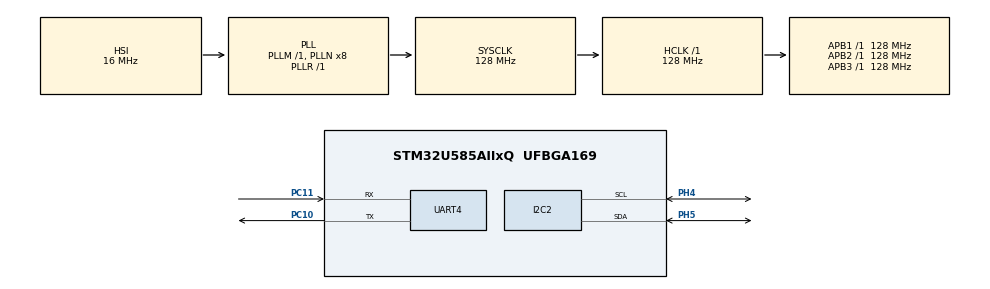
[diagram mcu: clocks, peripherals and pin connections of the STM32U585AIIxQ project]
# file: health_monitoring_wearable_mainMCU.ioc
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CORTEX_M33_NS.userName=CORTEX_M33
I2C2.Timing=0x20A0C4DF
Mcu.Family=STM32U5
Mcu.Name=STM32U585AIIxQ
Mcu.Package=UFBGA169
NVIC.I2C2_ER_IRQn=true\:3\:0\:true\:false\:true\:true\:true\:true
NVIC.I2C2_EV_IRQn=true\:3\:0\:true\:false\:true\:true\:true\:true
NVIC.PriorityGroup=NVIC_PRIORITYGROUP_4
NVIC.TIM16_IRQn=true\:2\:0\:true\:false\:true\:true\:true\:true
NVIC.UART4_IRQn=true\:1\:0\:true\:false\:true\:true\:true\:true
PA13\ (JTMS/SWDIO).Mode=Serial_Wire
PA13\ (JTMS/SWDIO).Signal=DEBUG_JTMS-SWDIO
PA14\ (JTCK/SWCLK).Mode=Serial_Wire
PA14\ (JTCK/SWCLK).Signal=DEBUG_JTCK-SWCLK
PC10.Mode=Asynchronous
PC10.Signal=UART4_TX
PC11.Mode=Asynchronous
PC11.Signal=UART4_RX
PC14-OSC32_IN\ (PC14).Mode=LSE-External-Oscillator
PC14-OSC32_IN\ (PC14).Signal=RCC_OSC32_IN
PC15-OSC32_OUT\ (PC15).Mode=LSE-External-Oscillator
PC15-OSC32_OUT\ (PC15).Signal=RCC_OSC32_OUT
PH0-OSC_IN\ (PH0).Mode=HSE-External-Oscillator
PH0-OSC_IN\ (PH0).Signal=RCC_OSC_IN
PH1-OSC_OUT\ (PH1).Mode=HSE-External-Oscillator
PH1-OSC_OUT\ (PH1).Signal=RCC_OSC_OUT
PH4.Mode=I2C
PH4.Signal=I2C2_SCL
PH5.Mode=I2C
PH5.Signal=I2C2_SDA
ProjectManager.HeapSize=0x200
ProjectManager.StackSize=0x400
ProjectManager.TargetToolchain=STM32CubeIDE
RCC.ADCFreq_Value=16000000
RCC.AHBFreq_Value=128000000
RCC.APB1Freq_Value=128000000
RCC.APB1TimFreq_Value=128000000
RCC.APB2Freq_Value=128000000
RCC.APB2TimFreq_Value=128000000
RCC.APB3Freq_Value=128000000
RCC.CortexFreq_Value=128000000
RCC.EPOD_VALUE=16000000
RCC.HCLKFreq_Value=128000000
RCC.HSE_VALUE=16000000
RCC.HSI48_VALUE=48000000
RCC.HSI_VALUE=16000000
RCC.LSIDIV_VALUE=32000
RCC.MSIClockRange=RCC_MSIRANGE_0
RCC.MSI_VALUE=48000000
RCC.PLL1R=1
RCC.PLL2FRACN=0
RCC.PLL3FRACN=0
RCC.PLLFRACN=0
RCC.PLLN=8
RCC.PLLSourceVirtual=RCC_PLLSOURCE_HSI
RCC.SYSCLKFreq_VALUE=128000000
RCC.SYSCLKSource=RCC_SYSCLKSOURCE_PLLCLK
RCC.USBFreq_Value=48000000
RCC.VCOOutputFreq_Value=128000000
TIM16.PeriodNoDither=50000 - 1
TIM16.Prescaler=12800 - 1
VP_ICACHE_VS_ICACHE.Mode=DirectMappedCache
VP_LPBAMQUEUE_VS_QUEUE.Mode=QUEUEMODE
VP_LPBAM_VS_SIG1.Mode=SmartRun
VP_LPBAM_VS_SIG4.Mode=LPDMA1
VP_MEMORYMAP_VS_MEMORYMAP.Mode=CurAppReg
VP_PWR_VS_SECSignals.Mode=Security/Privilege
VP_RTC_VS_RTC_Activate.Mode=RTC_Enabled
VP_RTC_VS_RTC_Calendar.Mode=RTC_Calendar
VP_TIM16_VS_ClockSourceINT.Mode=Enable_Timer
board=custom

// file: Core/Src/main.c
/* USER CODE BEGIN Header */
/**
  ******************************************************************************
  * @file           : main.c
  * @brief          : Main program body
  ******************************************************************************
  * @attention
  *
  * Copyright (c) 2025 STMicroelectronics.
  * All rights reserved.
  *
  * This software is licensed under terms that can be found in the LICENSE file
  * in the root directory of this software component.
  * If no LICENSE file comes with this software, it is provided AS-IS.
  *
  ******************************************************************************
  */
/* USER CODE END Header */
#include "main.h"

/* USER CODE BEGIN Includes */
#include "uart_handler.h"
#include "i2c_handler.h"
#include "data_handler.h"
#include "sensors_interface.h"
/* USER CODE END Includes */

I2C_HandleTypeDef hi2c2;

RTC_HandleTypeDef hrtc;

TIM_HandleTypeDef htim16;

UART_HandleTypeDef huart4;

void SystemClock_Config(void);
static void MX_GPIO_Init(void);
static void MX_I2C2_Init(void);
static void MX_RTC_Init(void);
static void MX_TIM16_Init(void);
static void MX_UART4_Init(void);
static void MX_ICACHE_Init(void);

int main(void)
{

  /* MCU Configuration--------------------------------------------------------*/

  /* Reset of all peripherals, Initializes the Flash interface and the Systick. */
  HAL_Init();

  /* Configure the system clock */
  SystemClock_Config();

  /* Initialize all configured peripherals */
  MX_GPIO_Init();
  MX_I2C2_Init();
  MX_RTC_Init();
  MX_TIM16_Init();
  MX_UART4_Init();
  MX_ICACHE_Init();
  /* USER CODE BEGIN 2 */
  uart_handler_Init(&huart4);
  data_handler_Init();
  i2c_handler_init(&hi2c2);
  sensor_interface_init();

  HAL_TIM_Base_Start_IT(&htim16);

  /* USER CODE END 2 */

  /* Infinite loop */
  /* USER CODE BEGIN WHILE */
  while (1)
  {

	  uart_handler_check_tx_buffer();
    /* USER CODE END WHILE */

  }
}

void SystemClock_Config(void)
{
  RCC_OscInitTypeDef RCC_OscInitStruct = {0};
  RCC_ClkInitTypeDef RCC_ClkInitStruct = {0};

  /** Configure the main internal regulator output voltage
  */
  if (HAL_PWREx_ControlVoltageScaling(PWR_REGULATOR_VOLTAGE_SCALE1) != HAL_OK)
  {
    Error_Handler();
  }

  /** Initializes the CPU, AHB and APB buses clocks
  */
  RCC_OscInitStruct.OscillatorType = RCC_OSCILLATORTYPE_HSI|RCC_OSCILLATORTYPE_LSI;
  RCC_OscInitStruct.HSIState = RCC_HSI_ON;
  RCC_OscInitStruct.HSICalibrationValue = RCC_HSICALIBRATION_DEFAULT;
  RCC_OscInitStruct.LSIState = RCC_LSI_ON;
  RCC_OscInitStruct.LSIDiv = RCC_LSI_DIV1;
  RCC_OscInitStruct.PLL.PLLState = RCC_PLL_ON;
  RCC_OscInitStruct.PLL.PLLSource = RCC_PLLSOURCE_HSI;
  RCC_OscInitStruct.PLL.PLLMBOOST = RCC_PLLMBOOST_DIV1;
  RCC_OscInitStruct.PLL.PLLM = 1;
  RCC_OscInitStruct.PLL.PLLN = 8;
  RCC_OscInitStruct.PLL.PLLP = 2;
  RCC_OscInitStruct.PLL.PLLQ = 2;
  RCC_OscInitStruct.PLL.PLLR = 1;
  RCC_OscInitStruct.PLL.PLLRGE = RCC_PLLVCIRANGE_1;
  RCC_OscInitStruct.PLL.PLLFRACN = 0;
  if (HAL_RCC_OscConfig(&RCC_OscInitStruct) != HAL_OK)
  {
    Error_Handler();
  }

  /** Initializes the CPU, AHB and APB buses clocks
  */
  RCC_ClkInitStruct.ClockType = RCC_CLOCKTYPE_HCLK|RCC_CLOCKTYPE_SYSCLK
                              |RCC_CLOCKTYPE_PCLK1|RCC_CLOCKTYPE_PCLK2
                              |RCC_CLOCKTYPE_PCLK3;
  RCC_ClkInitStruct.SYSCLKSource = RCC_SYSCLKSOURCE_PLLCLK;
  RCC_ClkInitStruct.AHBCLKDivider = RCC_SYSCLK_DIV1;
  RCC_ClkInitStruct.APB1CLKDivider = RCC_HCLK_DIV1;
  RCC_ClkInitStruct.APB2CLKDivider = RCC_HCLK_DIV1;
  RCC_ClkInitStruct.APB3CLKDivider = RCC_HCLK_DIV1;

  if (HAL_RCC_ClockConfig(&RCC_ClkInitStruct, FLASH_LATENCY_3) != HAL_OK)
  {
    Error_Handler();
  }
}

static void MX_I2C2_Init(void)
{

  hi2c2.Instance = I2C2;
  hi2c2.Init.Timing = 0x20A0C4DF;
  hi2c2.Init.OwnAddress1 = 0;
  hi2c2.Init.AddressingMode = I2C_ADDRESSINGMODE_7BIT;
  hi2c2.Init.DualAddressMode = I2C_DUALADDRESS_DISABLE;
  hi2c2.Init.OwnAddress2 = 0;
  hi2c2.Init.OwnAddress2Masks = I2C_OA2_NOMASK;
  hi2c2.Init.GeneralCallMode = I2C_GENERALCALL_DISABLE;
  hi2c2.Init.NoStretchMode = I2C_NOSTRETCH_DISABLE;
  if (HAL_I2C_Init(&hi2c2) != HAL_OK)
  {
    Error_Handler();
  }

  /** Configure Analogue filter
  */
  if (HAL_I2CEx_ConfigAnalogFilter(&hi2c2, I2C_ANALOGFILTER_ENABLE) != HAL_OK)
  {
    Error_Handler();
  }

  /** Configure Digital filter
  */
  if (HAL_I2CEx_ConfigDigitalFilter(&hi2c2, 0) != HAL_OK)
  {
    Error_Handler();
  }

}

static void MX_ICACHE_Init(void)
{

  /** Enable instruction cache in 1-way (direct mapped cache)
  */
  if (HAL_ICACHE_ConfigAssociativityMode(ICACHE_1WAY) != HAL_OK)
  {
    Error_Handler();
  }
  if (HAL_ICACHE_Enable() != HAL_OK)
  {
    Error_Handler();
  }

}

static void MX_RTC_Init(void)
{

  RTC_PrivilegeStateTypeDef privilegeState = {0};
  RTC_TimeTypeDef sTime = {0};
  RTC_DateTypeDef sDate = {0};

  /** Initialize RTC Only
  */
  hrtc.Instance = RTC;
  hrtc.Init.HourFormat = RTC_HOURFORMAT_24;
  hrtc.Init.AsynchPrediv = 127;
  hrtc.Init.SynchPrediv = 255;
  hrtc.Init.OutPut = RTC_OUTPUT_DISABLE;
  hrtc.Init.OutPutRemap = RTC_OUTPUT_REMAP_NONE;
  hrtc.Init.OutPutPolarity = RTC_OUTPUT_POLARITY_HIGH;
  hrtc.Init.OutPutType = RTC_OUTPUT_TYPE_OPENDRAIN;
  hrtc.Init.OutPutPullUp = RTC_OUTPUT_PULLUP_NONE;
  hrtc.Init.BinMode = RTC_BINARY_NONE;
  if (HAL_RTC_Init(&hrtc) != HAL_OK)
  {
    Error_Handler();
  }
  privilegeState.rtcPrivilegeFull = RTC_PRIVILEGE_FULL_NO;
  privilegeState.backupRegisterPrivZone = RTC_PRIVILEGE_BKUP_ZONE_NONE;
  privilegeState.backupRegisterStartZone2 = RTC_BKP_DR0;
  privilegeState.backupRegisterStartZone3 = RTC_BKP_DR0;
  if (HAL_RTCEx_PrivilegeModeSet(&hrtc, &privilegeState) != HAL_OK)
  {
    Error_Handler();
  }

  /** Initialize RTC and set the Time and Date
  */
  sTime.Hours = 0x0;
  sTime.Minutes = 0x0;
  sTime.Seconds = 0x0;
  sTime.DayLightSaving = RTC_DAYLIGHTSAVING_NONE;
  sTime.StoreOperation = RTC_STOREOPERATION_RESET;
  if (HAL_RTC_SetTime(&hrtc, &sTime, RTC_FORMAT_BCD) != HAL_OK)
  {
    Error_Handler();
  }
  sDate.WeekDay = RTC_WEEKDAY_MONDAY;
  sDate.Month = RTC_MONTH_JANUARY;
  sDate.Date = 0x1;
  sDate.Year = 0x0;

  if (HAL_RTC_SetDate(&hrtc, &sDate, RTC_FORMAT_BCD) != HAL_OK)
  {
    Error_Handler();
  }

}

static void MX_TIM16_Init(void)
{

  htim16.Instance = TIM16;
  htim16.Init.Prescaler = 12800 - 1;
  htim16.Init.CounterMode = TIM_COUNTERMODE_UP;
  htim16.Init.Period = 49999;
  htim16.Init.ClockDivision = TIM_CLOCKDIVISION_DIV1;
  htim16.Init.RepetitionCounter = 0;
  htim16.Init.AutoReloadPreload = TIM_AUTORELOAD_PRELOAD_DISABLE;
  if (HAL_TIM_Base_Init(&htim16) != HAL_OK)
  {
    Error_Handler();
  }

}

static void MX_UART4_Init(void)
{

  huart4.Instance = UART4;
  huart4.Init.BaudRate = 115200;
  huart4.Init.WordLength = UART_WORDLENGTH_8B;
  huart4.Init.StopBits = UART_STOPBITS_1;
  huart4.Init.Parity = UART_PARITY_NONE;
  huart4.Init.Mode = UART_MODE_TX_RX;
  huart4.Init.HwFlowCtl = UART_HWCONTROL_NONE;
  huart4.Init.OverSampling = UART_OVERSAMPLING_16;
  huart4.Init.OneBitSampling = UART_ONE_BIT_SAMPLE_DISABLE;
  huart4.Init.ClockPrescaler = UART_PRESCALER_DIV1;
  huart4.AdvancedInit.AdvFeatureInit = UART_ADVFEATURE_NO_INIT;
  if (HAL_UART_Init(&huart4) != HAL_OK)
  {
    Error_Handler();
  }
  if (HAL_UARTEx_SetTxFifoThreshold(&huart4, UART_TXFIFO_THRESHOLD_1_8) != HAL_OK)
  {
    Error_Handler();
  }
  if (HAL_UARTEx_SetRxFifoThreshold(&huart4, UART_RXFIFO_THRESHOLD_1_8) != HAL_OK)
  {
    Error_Handler();
  }
  if (HAL_UARTEx_DisableFifoMode(&huart4) != HAL_OK)
  {
    Error_Handler();
  }

}

static void MX_GPIO_Init(void)
{

  /* GPIO Ports Clock Enable */
  __HAL_RCC_GPIOC_CLK_ENABLE();
  __HAL_RCC_GPIOA_CLK_ENABLE();
  __HAL_RCC_GPIOH_CLK_ENABLE();

}

/* USER CODE BEGIN 4 */

void HAL_TIM_PeriodElapsedCallback(TIM_HandleTypeDef *htim)
{

    if (htim->Instance == TIM16)
    {
    	HAL_TIM_Base_Stop_IT(&htim16);
        // Your code here: runs every 5 seconds
    	sensor_interface_schedule_readings();
        //TODO: trigger meassurements
    	HAL_TIM_Base_Start_IT(&htim16);
    }

}

/* USER CODE END 4 */

void Error_Handler(void)
{
  __disable_irq();
  while (1)
  {
  }
}
